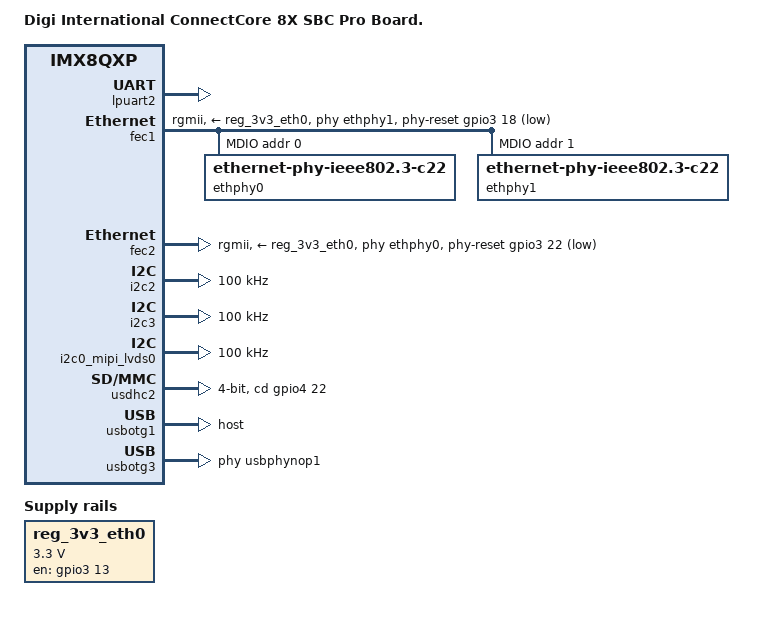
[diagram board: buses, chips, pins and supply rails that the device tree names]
/*
 * Copyright 2018 Digi International, Inc.
 *
 * The code contained herein is licensed under the GNU General Public
 * License. You may obtain a copy of the GNU General Public License
 * Version 2 or later at the following locations:
 *
 * http://www.opensource.org/licenses/gpl-license.html
 * http://www.gnu.org/copyleft/gpl.html
 */

/dts-v1/;

/* i.MX8QXP CPU */
#include "fsl-imx8qxp.dtsi"
/* Digi ConnectCore 8X SOM */
#include "ccimx8x.dtsi"
/* Digi ConnectCore 8X SBC Pro */
#include "ccimx8x-sbc-pro-u-boot.dtsi"

/ {
	model = "Digi International ConnectCore 8X SBC Pro Board.";
	compatible = "digi,ccimx8x-sbc-pro", "digi,ccimx8x", "fsl,imx8qxp";
	digi,machine,name = "ccimx8x-sbc-pro";

	chosen {
		bootargs = "console=ttyLP2,115200 earlycon";
		stdout-path = &lpuart2;
	};

	regulators {
		compatible = "simple-bus";
		#address-cells = <1>;
		#size-cells = <0>;

		reg_3v3_eth0: 3v3_eth0 {
			compatible = "regulator-fixed";
			pinctrl-names = "default";
			pinctrl-0 = <&pinctrl_reg_3v3_eth0>;
			regulator-name = "3V3_ETH0";
			regulator-min-microvolt = <3300000>;
			regulator-max-microvolt = <3300000>;
			gpio = <&gpio3 13 GPIO_ACTIVE_HIGH>;
			enable-active-high;
			startup-delay-us = <10000>;
		};
	};

	thermal-zones {
		cpu-thermal0 {
			polling-delay-passive = <250>;
			polling-delay = <2000>;
			thermal-sensors = <&tsens 0>;
			trips {
				cpu_alert0: trip0 {
					temperature = <85000>;
					hysteresis = <2000>;
					type = "passive";
				};
				cpu_crit0: trip1 {
					temperature = <100000>;
					hysteresis = <2000>;
					type = "critical";
				};
			};
		};
	};

	mca_gpio_uboot: mca_gpio {
		compatible = "digi,mca-gpio";
		gpio-controller;
	};
};

&lpuart2 {
	pinctrl-names = "default";
	pinctrl-0 = <&pinctrl_lpuart2>;
	status = "okay";
};

&fec1 {
	pinctrl-names = "default";
	pinctrl-0 = <&pinctrl_fec_mdio>, <&pinctrl_fec1>, <&pinctrl_fec1_gpio>;
	phy-mode = "rgmii";
	phy-handle = <&ethphy1>;
	phy-supply = <&reg_3v3_eth0>;
	phy-reset-gpios = <&gpio3 18 GPIO_ACTIVE_LOW>;
	phy-reset-duration = <1>;
	fsl,ar8031-phy-fixup;
	fsl,magic-packet;
	status = "okay";

	mdio {
		#address-cells = <1>;
		#size-cells = <0>;

		ethphy0: ethernet-phy@0 {
			compatible = "ethernet-phy-ieee802.3-c22";
			reg = <0>;
		};

		ethphy1: ethernet-phy@1 {
			compatible = "ethernet-phy-ieee802.3-c22";
			reg = <1>;
		};
	};
};

&fec2 {
	pinctrl-names = "default";
	pinctrl-0 = <&pinctrl_fec_mdio>, <&pinctrl_fec2>, <&pinctrl_fec2_gpio>;
	phy-mode = "rgmii";
	phy-handle = <&ethphy0>;
	phy-supply = <&reg_3v3_eth0>;
	phy-reset-gpios = <&gpio3 22 GPIO_ACTIVE_LOW>;
	phy-reset-duration = <1>;
	fsl,ar8031-phy-fixup;
	fsl,magic-packet;
	status = "okay";
};

/* I2C2 available on Raspberry Pi expansion header */
&i2c2 {
	#address-cells = <1>;
	#size-cells = <0>;
	clock-frequency = <100000>;
	pinctrl-names = "default";
	pinctrl-0 = <&pinctrl_lpi2c2>;
	status = "okay";
};

/* I2C3 available on Raspberry Pi expansion header */
&i2c3 {
	#address-cells = <1>;
	#size-cells = <0>;
	clock-frequency = <100000>;
	pinctrl-names = "default";
	pinctrl-0 = <&pinctrl_lpi2c3>;
	status = "okay";
};

&i2c0_mipi_lvds0 {
	#address-cells = <1>;
	#size-cells = <0>;
	pinctrl-names = "default";
	pinctrl-0 = <&pinctrl_i2c0_mipi_lvds0>;
	clock-frequency = <100000>;
	status = "okay";
};

&usdhc2 {
	pinctrl-names = "default", "state_100mhz", "state_200mhz";
	pinctrl-0 = <&pinctrl_usdhc2>, <&pinctrl_usdhc2_gpio>;
	pinctrl-1 = <&pinctrl_usdhc2_100mhz>, <&pinctrl_usdhc2_gpio>;
	pinctrl-2 = <&pinctrl_usdhc2_200mhz>, <&pinctrl_usdhc2_gpio>;
	bus-width = <4>;
	no-1-8-v;
	cd-gpios = <&gpio4 22 GPIO_ACTIVE_HIGH>;
	status = "okay";
};

&usbotg1 {
	dr_mode = "host";
	status = "okay";
};

&usbotg3 {
	phys = <&usbphynop1>;
	status = "okay";
};

&usbphynop1 {
	compatible = "cdns,usb3-phy";
	reg = <0x0 0x5B160000 0x0 0x40000>;
	#phy-cells = <0>;
};

&iomuxc {
	pinctrl-names = "default";
	ccimx8x {

		pinctrl_lpuart2: lpuart2grp {
			fsl,pins = <
				SC_P_UART2_RX_ADMA_UART2_RX	0x06000020
				SC_P_UART2_TX_ADMA_UART2_TX	0x06000020
			>;
		};

		/* Ethernet PHYs regulator */
		pinctrl_reg_3v3_eth0: pinctrl_reg_3v3_eth0grp {
			fsl,pins = <
				/* PHY power */
				SC_P_QSPI0A_DQS_LSIO_GPIO3_IO13		0x06000021
			>;
		};

		/* FEC shared MDIO bus */
		pinctrl_fec_mdio: fecmdiogrp {
			fsl,pins = <
				SC_P_ENET0_MDC_CONN_ENET0_MDC		0x06000048
				SC_P_ENET0_MDIO_CONN_ENET0_MDIO		0x06000048
			>;
		};

		pinctrl_fec1_gpio: fec1gpiogrp {
			fsl,pins = <
				/* PHY reset */
				SC_P_QSPI0B_DATA0_LSIO_GPIO3_IO18	0x06000021
				/* PHY interrupt */
				SC_P_MIPI_DSI0_GPIO0_01_LSIO_GPIO1_IO28	0x06000021
			>;
		};

		pinctrl_fec1: fec1grp {
			fsl,pins = <
				/*
				 * The SCFW of B0 defaults ENET0 domains to 2.5V:
				 * - VDD_ENET0_1P8_2P5_3P3
				 * - VDD_ENET0_VSELECT_1P8_2P5_3P3
				 * Turn the domains back to 1.8/3.3V detector
				 */
				SC_P_COMP_CTL_GPIO_1V8_3V3_ENET_ENETB0_PAD	0x000014a0
				SC_P_COMP_CTL_GPIO_1V8_3V3_ENET_ENETB1_PAD	0x000014a0

				SC_P_ENET0_RGMII_TXC_CONN_ENET0_RGMII_TXC	0x06000048
				SC_P_ENET0_RGMII_TX_CTL_CONN_ENET0_RGMII_TX_CTL	0x06000048
				SC_P_ENET0_RGMII_TXD0_CONN_ENET0_RGMII_TXD0	0x06000048
				SC_P_ENET0_RGMII_TXD1_CONN_ENET0_RGMII_TXD1	0x06000048
				SC_P_ENET0_RGMII_TXD2_CONN_ENET0_RGMII_TXD2	0x06000048
				SC_P_ENET0_RGMII_TXD3_CONN_ENET0_RGMII_TXD3	0x06000048
				SC_P_ENET0_RGMII_RXC_CONN_ENET0_RGMII_RXC	0x06000048
				SC_P_ENET0_RGMII_RX_CTL_CONN_ENET0_RGMII_RX_CTL	0x06000048
				SC_P_ENET0_RGMII_RXD0_CONN_ENET0_RGMII_RXD0	0x06000048
				SC_P_ENET0_RGMII_RXD1_CONN_ENET0_RGMII_RXD1	0x06000048
				SC_P_ENET0_RGMII_RXD2_CONN_ENET0_RGMII_RXD2	0x06000048
				SC_P_ENET0_RGMII_RXD3_CONN_ENET0_RGMII_RXD3	0x06000048
			>;
		};

		pinctrl_fec2_gpio: fec2gpiogrp {
			fsl,pins = <
				/* PHY reset */
				SC_P_QSPI0B_DQS_LSIO_GPIO3_IO22		0x06000021
				/* PHY interrupt */
				SC_P_MIPI_DSI1_GPIO0_01_LSIO_GPIO2_IO00	0x06000021
			>;
		};

		pinctrl_fec2: fec2grp {
			fsl,pins = <
				/*
				 * The SCFW of B0 defaults ENET1 domain to 2.5V:
				 * - VDD_ESAI_SPDIF_1P8_2P5_3P3
				 * Turn the domain back to 1.8/3.3V detector
				 */
				SC_P_COMP_CTL_GPIO_1V8_3V3_GPIORHB_PAD		0x000514a0

				SC_P_ESAI0_SCKR_CONN_ENET1_RGMII_TX_CTL		0x06000048
				SC_P_ESAI0_FSR_CONN_ENET1_RGMII_TXC		0x06000048
				SC_P_ESAI0_TX4_RX1_CONN_ENET1_RGMII_TXD0	0x06000048
				SC_P_ESAI0_TX5_RX0_CONN_ENET1_RGMII_TXD1	0x06000048
				SC_P_ESAI0_FST_CONN_ENET1_RGMII_TXD2		0x06000048
				SC_P_ESAI0_SCKT_CONN_ENET1_RGMII_TXD3		0x06000048
				SC_P_ESAI0_TX0_CONN_ENET1_RGMII_RXC		0x06000048
				SC_P_SPDIF0_TX_CONN_ENET1_RGMII_RX_CTL		0x06000048
				SC_P_SPDIF0_RX_CONN_ENET1_RGMII_RXD0		0x06000048
				SC_P_ESAI0_TX3_RX2_CONN_ENET1_RGMII_RXD1	0x06000048
				SC_P_ESAI0_TX2_RX3_CONN_ENET1_RGMII_RXD2	0x06000048
				SC_P_ESAI0_TX1_CONN_ENET1_RGMII_RXD3		0x06000048
			>;
		};

		pinctrl_lpi2c2: lpi2c2grp {
			fsl,pins = <
				SC_P_MIPI_DSI1_GPIO0_00_ADMA_I2C2_SCL	0x06000020
				SC_P_MIPI_DSI1_GPIO0_01_ADMA_I2C2_SDA	0x06000020
			>;
		};

		pinctrl_lpi2c3: lpi2c3grp {
			fsl,pins = <
				SC_P_SPI3_CS1_ADMA_I2C3_SCL	0x06000020
				SC_P_MCLK_IN1_ADMA_I2C3_SDA	0x06000020
			>;
		};

		pinctrl_usdhc2_gpio: usdhc2gpiogrp {
			fsl,pins = <
				/* Card detect */
				SC_P_USDHC1_CD_B_LSIO_GPIO4_IO22	0x06000021
			>;
		};

		pinctrl_usdhc2: usdhc2grp {
			fsl,pins = <
				SC_P_USDHC1_CLK_CONN_USDHC1_CLK		0x06000041
				SC_P_USDHC1_CMD_CONN_USDHC1_CMD		0x06000021
				SC_P_USDHC1_DATA0_CONN_USDHC1_DATA0	0x06000021
				SC_P_USDHC1_DATA1_CONN_USDHC1_DATA1	0x06000021
				SC_P_USDHC1_DATA2_CONN_USDHC1_DATA2	0x06000021
				SC_P_USDHC1_DATA3_CONN_USDHC1_DATA3	0x06000021
			>;
		};

		pinctrl_usdhc2_100mhz: usdhc2grp100mhz {
			fsl,pins = <
				SC_P_USDHC1_CLK_CONN_USDHC1_CLK		0x06000040
				SC_P_USDHC1_CMD_CONN_USDHC1_CMD		0x06000020
				SC_P_USDHC1_DATA0_CONN_USDHC1_DATA0	0x06000020
				SC_P_USDHC1_DATA1_CONN_USDHC1_DATA1	0x06000020
				SC_P_USDHC1_DATA2_CONN_USDHC1_DATA2	0x06000020
				SC_P_USDHC1_DATA3_CONN_USDHC1_DATA3	0x06000020
			>;
		};

		pinctrl_usdhc2_200mhz: usdhc2grp200mhz {
			fsl,pins = <
				SC_P_USDHC1_CLK_CONN_USDHC1_CLK		0x06000040
				SC_P_USDHC1_CMD_CONN_USDHC1_CMD		0x06000020
				SC_P_USDHC1_DATA0_CONN_USDHC1_DATA0	0x06000020
				SC_P_USDHC1_DATA1_CONN_USDHC1_DATA1	0x06000020
				SC_P_USDHC1_DATA2_CONN_USDHC1_DATA2	0x06000020
				SC_P_USDHC1_DATA3_CONN_USDHC1_DATA3	0x06000020
			>;
		};

		pinctrl_i2c0_mipi_lvds0: mipi_lvds0_i2c0_grp {
			fsl,pins = <
				SC_P_MIPI_DSI0_I2C0_SCL_MIPI_DSI0_I2C0_SCL 0xc6000020
				SC_P_MIPI_DSI0_I2C0_SDA_MIPI_DSI0_I2C0_SDA 0xc6000020
			>;
		};
	};
};
